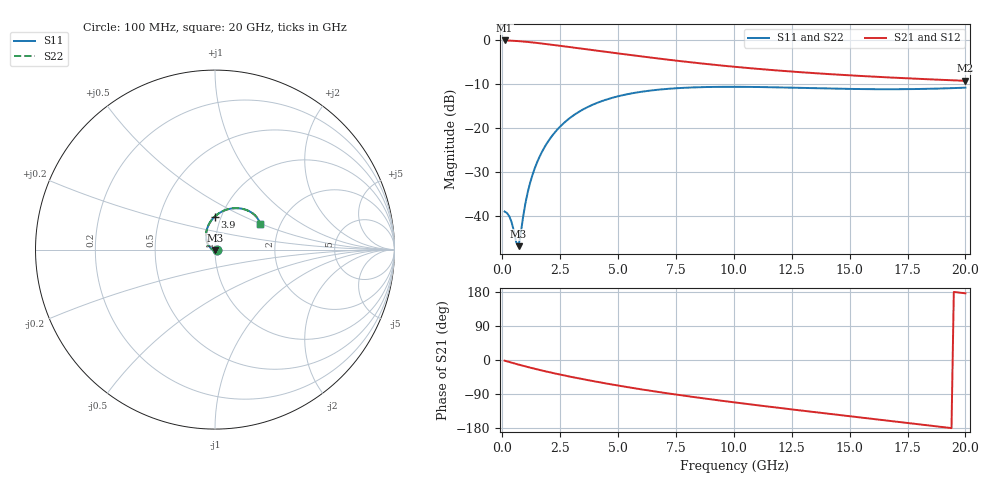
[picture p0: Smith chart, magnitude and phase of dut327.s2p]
! Touchstone file exported from HFSS 2024.1.0
!  File:  C:/UserFiles/LocalFiles/RDL_TSV_Batchsim/temp_RDL_TSV_327_1779630920.aedt
!  Generated:  10:11:05 PM May 24, 2026
!  Design:  RDL_TSV
!  Project:  temp_RDL_TSV_327_1779630920
!  Setup:  Setup1
!  Solution:  Sweep
! Variables:
!  dtsv = 9.92um
!  hbump = 3um
!  htsv = 93.84um
!  ldown = 566.96um
!  lrdl = 164.48um
!  p = 40
!  p1 = 57.34um
!  rhole = 10um
!  subl = 2358.8um
!  t = 450um
!  tdown = 3.49um
!  trdl = 4.25um
!  viad = 10um
!  wdown = 21.79um
!  wrdl = 21.61um
!  xbump = 18um
# GHz S MA R 50.000000
! Terminal data exported
! Port[1] = TM1_1_T1
! Port[2] = TM1_4_T1
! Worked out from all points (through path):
!   200 points, 100 MHz to 20 GHz, reference 50 ohm
!   highest |S21| = -0.10 dB at 100 MHz (marker M1); lowest = -9.3 dB at 20 GHz (marker M2)
!   group delay of S21, straight-line fit = 23.8 ps
!   lowest |S11| = -46.8 dB at 700 MHz (marker M3), VSWR 1.01, Z = 49.8 - j0.425 ohm
!   |S11| at or under -10 dB: start of sweep to end of sweep
!   |S22| runs from -46.8 to -10.6 dB; largest |S21 - S12| = 3.2e-14
!   S11 on the Smith chart (normalised r, x): 100 MHz: 1.02, -0.00; 3.9 GHz: 0.93, +0.35; 20 GHz: 1.57, +0.49
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0.1  0.01127 -4.1  0.9881 -1.8  0.9881 -1.8  0.01127 -4.1
! Gamma 0 0 0 0
! Port Impedance 50 0 50 0
0.3  0.009972 -16.9  0.9845 -5.3  0.9845 -5.3  0.009972 -16.9
0.4  0.008568 -26.7  0.9818 -7.0  0.9818 -7.0  0.008568 -26.7
0.5  0.006785 -41.2  0.9787 -8.7  0.9787 -8.7  0.006786 -41.2
0.6  0.005045 -66.8  0.975 -10.4  0.975 -10.4  0.005047 -66.8
0.7  0.004556 -110.5  0.971 -12.1  0.971 -12.1  0.004557 -110.5
1  0.01405 177.8  0.9563 -17.0  0.9563 -17.0  0.01405 177.8
1.1  0.01874 169.4  0.9507 -18.5  0.9507 -18.5  0.01874 169.4
1.3  0.02917 157.6  0.9388 -21.6  0.9388 -21.6  0.02917 157.6
1.6  0.04664 144.9  0.9196 -26.1  0.9196 -26.1  0.04664 144.9
2  0.07182 131.7  0.8928 -31.8  0.8928 -31.8  0.07183 131.7
2.4  0.09761 120.8  0.8656 -37.2  0.8656 -37.2  0.09761 120.8
2.9  0.1289 109.1  0.8322 -43.6  0.8322 -43.6  0.1289 109.2
3.5  0.1634 97.3  0.7935 -50.8  0.7935 -50.8  0.1634 97.3
3.9  0.1839 90.4  0.7685 -55.5  0.7685 -55.5  0.1839 90.4
5.2  0.2362 72.2  0.6931 -69.5  0.6931 -69.5  0.2362 72.2
6.8  0.2737 56.1  0.6134 -84.9  0.6134 -84.9  0.2738 56.1
8.4  0.2904 44.8  0.5485 -98.8  0.5485 -98.8  0.2904 44.8
10.1  0.2941 36.5  0.4943 -112.4  0.4943 -112.4  0.2942 36.5
13.4  0.2839 28.4  0.4216 -136.9  0.4216 -136.9  0.284 28.4
16.7  0.2759 27.8  0.3757 -160.5  0.3757 -160.5  0.276 27.8
20  0.2875 30.2  0.3439 176.0  0.3439 176.0  0.2876 30.1
